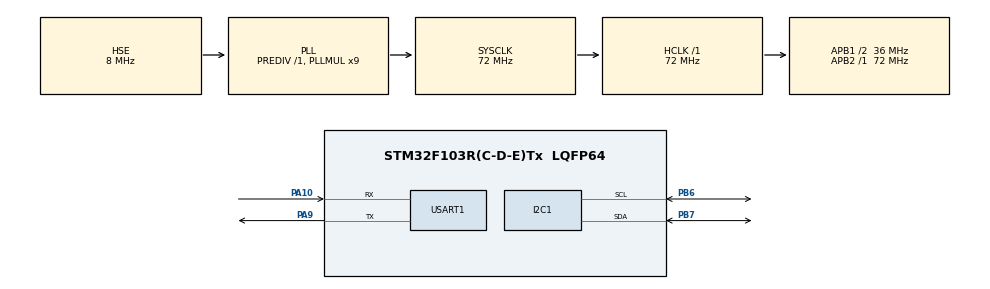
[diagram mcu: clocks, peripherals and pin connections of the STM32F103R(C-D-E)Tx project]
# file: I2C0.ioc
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Mcu.Family=STM32F1
Mcu.Name=STM32F103R(C-D-E)Tx
Mcu.Package=LQFP64
NVIC.PriorityGroup=NVIC_PRIORITYGROUP_4
PA10.Mode=Asynchronous
PA10.Signal=USART1_RX
PA13.Mode=Serial_Wire
PA13.Signal=SYS_JTMS-SWDIO
PA14.Mode=Serial_Wire
PA14.Signal=SYS_JTCK-SWCLK
PA9.Mode=Asynchronous
PA9.Signal=USART1_TX
PB6.Mode=I2C
PB6.Signal=I2C1_SCL
PB7.Mode=I2C
PB7.Signal=I2C1_SDA
PD0-OSC_IN.Mode=HSE-External-Oscillator
PD0-OSC_IN.Signal=RCC_OSC_IN
PD1-OSC_OUT.Mode=HSE-External-Oscillator
PD1-OSC_OUT.Signal=RCC_OSC_OUT
ProjectManager.HeapSize=0x200
ProjectManager.StackSize=0x400
ProjectManager.TargetToolchain=MDK-ARM V5
RCC.AHBFreq_Value=72000000
RCC.APB1CLKDivider=RCC_HCLK_DIV2
RCC.APB1Freq_Value=36000000
RCC.APB1TimFreq_Value=72000000
RCC.APB2Freq_Value=72000000
RCC.APB2TimFreq_Value=72000000
RCC.HCLKFreq_Value=72000000
RCC.PLLMUL=RCC_PLL_MUL9
RCC.PLLSourceVirtual=RCC_PLLSOURCE_HSE
RCC.SYSCLKFreq_VALUE=72000000
RCC.SYSCLKSource=RCC_SYSCLKSOURCE_PLLCLK
RCC.USBFreq_Value=72000000
USART1.VirtualMode=VM_ASYNC
board=custom

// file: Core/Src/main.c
/* USER CODE BEGIN Header */
/**
  ******************************************************************************
  * @file           : main.c
  * @brief          : Main program body
  ******************************************************************************
  * @attention
  *
  * <h2><center>&copy; Copyright (c) 2021 STMicroelectronics.
  * All rights reserved.</center></h2>
  *
  * This software component is licensed by ST under BSD 3-Clause license,
  * the "License"; You may not use this file except in compliance with the
  * License. You may obtain a copy of the License at:
  *                        opensource.org/licenses/BSD-3-Clause
  *
  ******************************************************************************
  */
/* USER CODE END Header */
#include "main.h"
#include "i2c.h"
#include "usart.h"
#include "gpio.h"

void SystemClock_Config(void);

int main(void)
{
  /* USER CODE BEGIN 1 */
		uint8_t write_dat = 0xa5;
    uint8_t recv_buf = 0;

  /* USER CODE END 1 */

  /* MCU Configuration--------------------------------------------------------*/

  /* Reset of all peripherals, Initializes the Flash interface and the Systick. */
  HAL_Init();

  /* Configure the system clock */
  SystemClock_Config();

  /* Initialize all configured peripherals */
  MX_GPIO_Init();
  MX_I2C1_Init();
  MX_USART1_UART_Init();
  /* USER CODE BEGIN 2 */
if(HAL_OK == At24c02_Write_Byte(10,&write_dat))
    {
        printf("Write ok\n");
    }
    else
    {
        printf("Write fail\n");
    }

    HAL_Delay(50);      //写一次和读一次之间需要短暂的延时

    if(HAL_OK == At24c02_Read_Byte(10,&recv_buf))
    {
        printf("Read ok, recv_buf = 0x%02X\n", recv_buf);
    }
    else
    {
        printf("Read fail\n");
    }

  /* USER CODE END 2 */

  /* Infinite loop */
  while (1)
  {

  }
}

void SystemClock_Config(void)
{
  RCC_OscInitTypeDef RCC_OscInitStruct = {0};
  RCC_ClkInitTypeDef RCC_ClkInitStruct = {0};

  /** Initializes the RCC Oscillators according to the specified parameters
  * in the RCC_OscInitTypeDef structure.
  */
  RCC_OscInitStruct.OscillatorType = RCC_OSCILLATORTYPE_HSE;
  RCC_OscInitStruct.HSEState = RCC_HSE_ON;
  RCC_OscInitStruct.HSEPredivValue = RCC_HSE_PREDIV_DIV1;
  RCC_OscInitStruct.HSIState = RCC_HSI_ON;
  RCC_OscInitStruct.PLL.PLLState = RCC_PLL_ON;
  RCC_OscInitStruct.PLL.PLLSource = RCC_PLLSOURCE_HSE;
  RCC_OscInitStruct.PLL.PLLMUL = RCC_PLL_MUL9;
  if (HAL_RCC_OscConfig(&RCC_OscInitStruct) != HAL_OK)
  {
    Error_Handler();
  }
  /** Initializes the CPU, AHB and APB buses clocks
  */
  RCC_ClkInitStruct.ClockType = RCC_CLOCKTYPE_HCLK|RCC_CLOCKTYPE_SYSCLK
                              |RCC_CLOCKTYPE_PCLK1|RCC_CLOCKTYPE_PCLK2;
  RCC_ClkInitStruct.SYSCLKSource = RCC_SYSCLKSOURCE_PLLCLK;
  RCC_ClkInitStruct.AHBCLKDivider = RCC_SYSCLK_DIV1;
  RCC_ClkInitStruct.APB1CLKDivider = RCC_HCLK_DIV2;
  RCC_ClkInitStruct.APB2CLKDivider = RCC_HCLK_DIV1;

  if (HAL_RCC_ClockConfig(&RCC_ClkInitStruct, FLASH_LATENCY_2) != HAL_OK)
  {
    Error_Handler();
  }
}

/* USER CODE BEGIN 4 */
uint8_t At24c02_Read_Byte(uint16_t addr, uint8_t* read_buf)
{
    return HAL_I2C_Mem_Read(&hi2c1, 0XA1, addr, I2C_MEMADD_SIZE_8BIT, read_buf, 1, 0xFFFF);
}
uint8_t At24c02_Write_Byte(uint16_t addr, uint8_t* dat)
{
    return HAL_I2C_Mem_Write(&hi2c1, 0XA0, addr, I2C_MEMADD_SIZE_8BIT, dat, 1, 0xFFFF);
}
int fputc(int ch,FILE *f)
{
	HAL_UART_Transmit(&huart1, (uint8_t *)&ch, 1, HAL_MAX_DELAY);
	return ch;
}
int fputc(int ch,FILE *f)
{
	HAL_UART_Transmit(&huart2,(uint8_t *)&ch,1,HAL_MAX_DELAY);
	return ch;
}
/* USER CODE END 4 */

void Error_Handler(void)
{
  __disable_irq();
  while (1)
  {
  }
}

/************************ (C) COPYRIGHT STMicroelectronics *****END OF FILE****/
